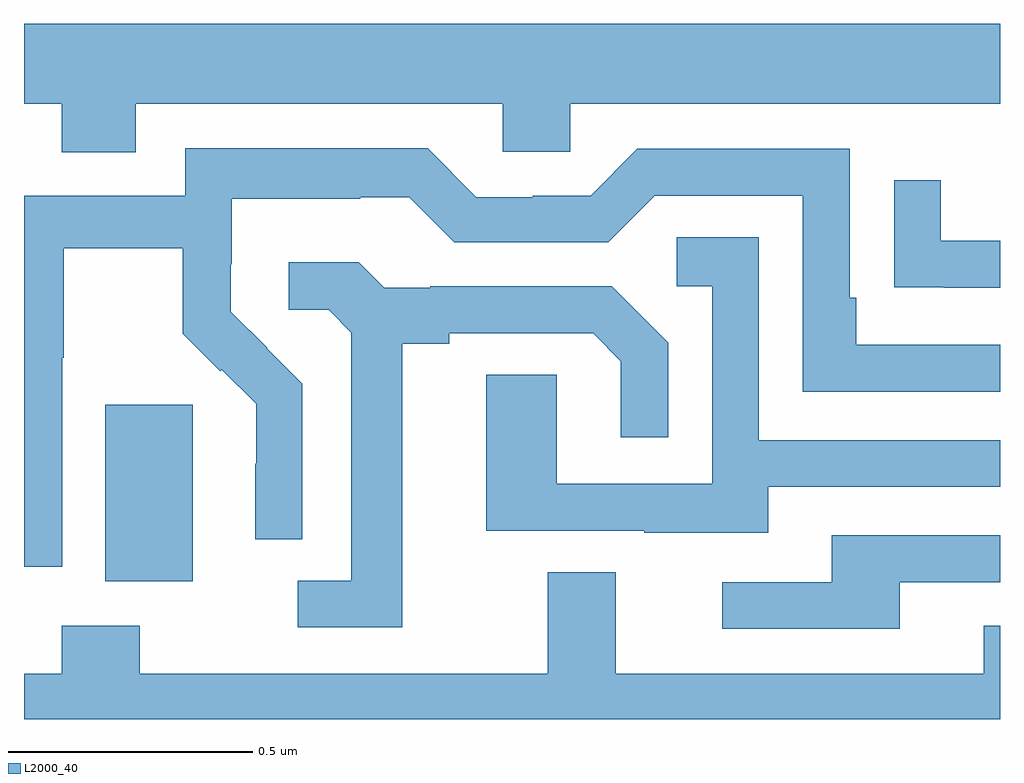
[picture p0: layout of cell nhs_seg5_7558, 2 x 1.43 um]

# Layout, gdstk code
import gdstk
lib = gdstk.Library(unit=1e-6, precision=1e-09)
def R(c, l, rs):  # rectangles x0, y0, x1, y1
    for r in rs: c.add(gdstk.rectangle(r[:2], r[2:], *l))
def P(c, l, *ps):  # polygons
    for p in ps: c.add(gdstk.Polygon(p, *l))
L2000_40 = (2000, 40)

nhs_seg5_7558 = lib.new_cell('nhs_seg5_7558')
R(nhs_seg5_7558, L2000_40, [(210.167,889.082,210.346,889.443)])
P(nhs_seg5_7558, L2000_40, [(210.229,890.06),(210.981,890.06),(210.981,889.962),(211.119,889.962),(211.119,890.06),(212,890.06),(212,890.224),(210,890.224),(210,890.06),(210.077,890.06),(210.077,889.961),(210.229,889.961)],
  [(210.078,889.54),(210.081,889.54),(210.081,889.764),(210.325,889.764),(210.325,889.589),(210.402,889.512),(210.405,889.515),(210.476,889.445),(210.476,889.322),(210.474,889.322),(210.474,889.168),(210.57,889.168),(210.57,889.486),(210.497,889.559),(210.498,889.56),(210.424,889.634),(210.424,889.731),(210.426,889.731),(210.426,889.865),(210.689,889.865),(210.689,889.869),(210.789,889.869),(210.882,889.776),(211.197,889.776),(211.293,889.872),(211.596,889.872),(211.596,889.47),(212,889.47),(212,889.566),(211.705,889.566),(211.705,889.663),(211.692,889.663),(211.692,889.968),(211.257,889.968),(211.161,889.872),(211.043,889.872),(211.043,889.869),(210.927,889.869),(210.827,889.969),(210.33,889.969),(210.33,889.872),(210,889.872),(210,889.111),(210.078,889.111)],
  [(212,889.779),(211.879,889.779),(211.879,889.903),(211.783,889.903),(211.783,889.684),(211.885,889.684),(211.885,889.683),(212,889.683)],
  [(211.525,889.275),(212,889.275),(212,889.371),(211.506,889.371),(211.506,889.787),(211.338,889.787),(211.338,889.686),(211.41,889.686),(211.41,889.281),(211.092,889.281),(211.092,889.505),(210.947,889.505),(210.947,889.185),(211.271,889.185),(211.271,889.181),(211.525,889.181)],
  [(210.775,889.568),(210.871,889.568),(210.871,889.59),(211.166,889.59),(211.223,889.533),(211.223,889.377),(211.32,889.377),(211.32,889.57),(211.204,889.686),(210.832,889.686),(210.832,889.683),(210.738,889.683),(210.686,889.735),(210.543,889.735),(210.543,889.638),(210.624,889.638),(210.671,889.591),(210.671,889.083),(210.561,889.083),(210.561,888.987),(210.775,888.987)],
  [(211.795,889.08),(212,889.08),(212,889.176),(211.655,889.176),(211.655,889.08),(211.431,889.08),(211.431,888.984),(211.795,888.984)],
  [(212,888.991),(211.967,888.991),(211.967,888.892),(211.213,888.892),(211.213,889.1),(211.073,889.1),(211.073,888.892),(210.237,888.892),(210.237,888.991),(210.077,888.991),(210.077,888.892),(210,888.892),(210,888.799),(212,888.799)])

lib.write_gds('nhs_seg5_7558.gds')
